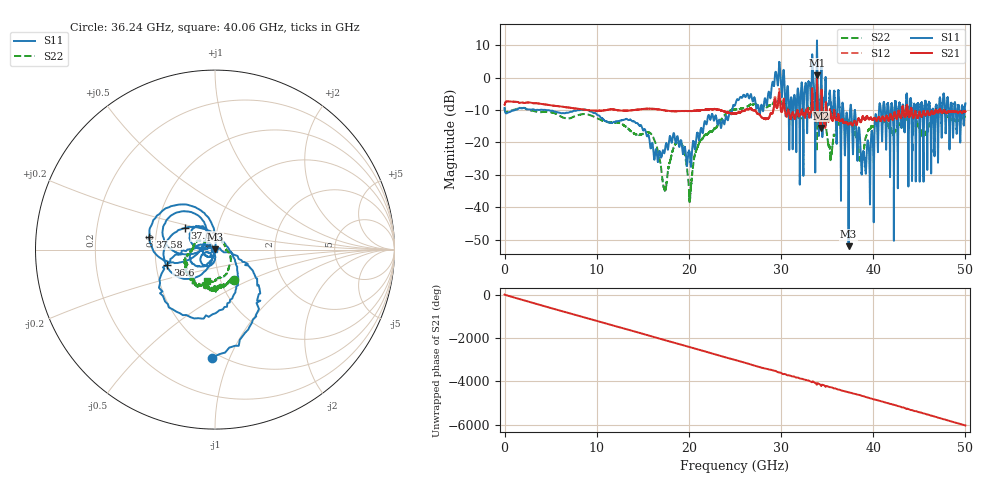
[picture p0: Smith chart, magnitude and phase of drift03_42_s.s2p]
!Created with skrf (http://scikit-rf.org).
# Hz S RI R 50.0
!freq ReS11 ImS11 ReS21 ImS21 ReS12 ImS12 ReS22 ImS22
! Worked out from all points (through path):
!   10001 points, 300 kHz to 50 GHz, reference 50 ohm
!   highest |S21| = 0.68 dB at 33.9 GHz (marker M1); lowest = -15.5 dB at 34.32 GHz (marker M2)
!   group delay of S21, straight-line fit = 335 ps
!   lowest |S11| = -52.0 dB at 37.33 GHz (marker M3), VSWR 1.01, Z = 49.9 + j0.242 ohm
!   |S11| at or under -10 dB: 4.485 GHz to 7.954 GHz (3.469 GHz wide, 55.8 % of centre); 9.032 GHz to 24.7 GHz (15.66 GHz wide, 92.9 % of centre); 37.62 GHz to 40.62 GHz (3.002 GHz wide, 7.67 % of centre) (the widest 3 of 59)
!   |S22| runs from -38.4 to -5.9 dB; largest |S21 - S12| = 0.11
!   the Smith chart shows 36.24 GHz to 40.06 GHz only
!   S11 on the Smith chart (normalised r, x): 36.24 GHz: 0.46, -0.86; 36.6 GHz: 0.57, -0.10; 37.03 GHz: 0.70, +0.18; 37.58 GHz: 0.46, +0.08; 40.06 GHz: 0.99, +0.01
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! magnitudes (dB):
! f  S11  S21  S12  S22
! 300 kHz  -9.4  -8.4  -8.5  -9.3
! 8.335 GHz  -9.8  -9.8  -9.8  -11.3
! 16.67 GHz  -25.4  -9.8  -9.8  -23.2
! 17.39 GHz  -22.6  -10.1  -10.1  -34.6
! 19.07 GHz  -19.9  -10.3  -10.3  -20.1
! 20.13 GHz  -24.8  -10.3  -10.3  -36.3
! 21.19 GHz  -17.9  -10.1  -10.1  -19.7
! 25 GHz  -8.6  -11.1  -11.1  -9.9
! 31.08 GHz  -6.1  -12.7  -12.6  -10.5
! 33.34 GHz  0.5  -7.4  -7.5  -9.4
! 33.9 GHz  11.5  0.7  0.3  -22.8
! 34.32 GHz  -2.9  -15.5  -14.9  -11.2
! 35.35 GHz  -6.7  -10.6  -10.1  -24.1
! 36.24 GHz  -4.4  -11.8  -11.7  -14.1
! 36.6 GHz  -11.1  -12.9  -12.9  -12.9
! 37.03 GHz  -13.7  -13.8  -14.0  -13.5
! 37.33 GHz  -52.0  -14.3  -14.5  -13.5
! 37.58 GHz  -8.6  -13.9  -13.8  -14.3
! 38.71 GHz  -27.4  -13.5  -13.3  -25.3
! 40.06 GHz  -44.6  -12.8  -12.8  -14.9
! 41.67 GHz  -9.6  -13.3  -13.2  -14.9
! 50 GHz  -7.9  -10.5  -10.6  -12.1
